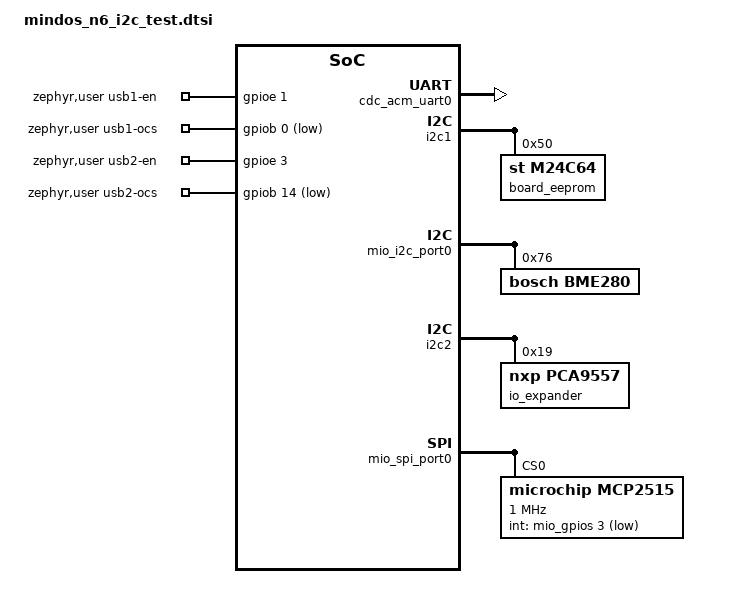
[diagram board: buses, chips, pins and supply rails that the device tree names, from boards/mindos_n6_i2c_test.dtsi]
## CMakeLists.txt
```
# SPDX-License-Identifier: Apache-2.0

cmake_minimum_required(VERSION 3.20.0)

# Out-of-tree PCA9557 GPIO expander driver (see pca9557_driver/README
# for why this needed its own driver instead of Zephyr's in-tree
# "nxp,pca95xx").
# mind_io: the I/O card abstraction (card EEPROM, port slots, named lines).
set(ZEPHYR_EXTRA_MODULES
  ${CMAKE_CURRENT_SOURCE_DIR}/pca9557_driver
  ${CMAKE_CURRENT_SOURCE_DIR}/../mind_io
)

find_package(Zephyr REQUIRED HINTS $ENV{ZEPHYR_BASE})
project(i2c_test)

# The default mindos_n6 variant executes in place from external flash and
# is only bootable when chainloaded by MCUboot, which sysbuild provides.
if(CONFIG_XIP AND NOT CONFIG_BOOTLOADER_MCUBOOT)
	message(FATAL_ERROR
		"This board variant runs from external flash (XIP) and must be "
		"built with --sysbuild so MCUboot is included, or use the /sb variant "
		"for a RAM-loaded image. See README.rst.")
endif()

# Pulls in Zephyr's shared USB device stack bring-up helper
# (sample_usbd_init_device() etc.), used by usb_device_test.c. See
# samples/subsys/usb/common/ - it's normally sample-only, but reusing
# it here is far less error-prone than re-deriving USB descriptor
# setup from scratch for a bring-up test.
include(${ZEPHYR_BASE}/samples/subsys/usb/common/common.cmake)

target_sources(app PRIVATE
	src/main.c
	src/mind_shell.c
	src/i2c_scan.c
	src/pca9557_test.c
	src/bme280_test.c
	src/can_test.c
	src/i2s_test.c
	src/usb_power_test.c
	src/usb_device_test.c
	src/lan_test.c
	src/axisram_test.c
	src/eeprom_test.c
)

# CONFIG_CODE_DATA_RELOCATION to AXISRAM3 was tried here and reverted:
# it hangs at boot on this board. See the README section "AXISRAM3
# extra SRAM" for why - short version: relocating an *initialized*
# section (e.g. i2s_test.c's const sine table, or any .data) needs an
# early boot-time copy into AXISRAM3, and that copy (arch_data_copy(),
# called before any Kconfig SYS_INIT level) runs before the
# stm32n6_axisram driver enables AXISRAM3's clock at PRE_KERNEL_2 -
# writing to a not-yet-clocked SRAM bank hangs the bus before anything
# can even print. axisram_test.c's own buffer works fine specifically
# because it's uninitialized (no early copy needed) and is only
# touched at runtime from the shell command, well after PRE_KERNEL_2.
```

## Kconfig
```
# SPDX-License-Identifier: Apache-2.0

# Becomes this app's Kconfig root (an app's own ./Kconfig, if present,
# is used instead of $ZEPHYR_BASE/Kconfig - see cmake/modules/kconfig.cmake).
# Needed only to pull in the shared USB sample options
# (SAMPLE_USBD_PID etc., used by usb_device_test.c via
# samples/subsys/usb/common/) that aren't otherwise reachable from an
# out-of-tree app; still sources the normal Kconfig.zephyr tree below
# so nothing else is affected.

source "samples/subsys/usb/common/Kconfig.sample_usbd"

source "Kconfig.zephyr"
```

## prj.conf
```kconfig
CONFIG_I2C=y
CONFIG_PRINTK=y
CONFIG_SENSOR=y
CONFIG_CAN=y
CONFIG_GPIO=y
CONFIG_I2S=y

# M24C64 board-configuration EEPROM on io_cnf_i2c (see eeprom_test.c)
CONFIG_EEPROM=y

# USB1 as a CDC-ACM device (see usb_device_test.c). Zephyr has no
# host-mode driver for this SoC's OTG HS peripheral, so device mode
# is the only way to exercise the USB wiring at all.
CONFIG_USB_DEVICE_STACK_NEXT=y
CONFIG_UART_LINE_CTRL=y
CONFIG_CDC_ACM_SERIAL_INITIALIZE_AT_BOOT=n
CONFIG_SAMPLE_USBD_PID=0x0001
CONFIG_SAMPLE_USBD_PRODUCT="mindos_n6 USB test"

# On-board Ethernet MAC (RMII) + DHCPv4 client (see lan_test.c).
CONFIG_NETWORKING=y
CONFIG_NET_IPV6=n
CONFIG_NET_IPV4=y
CONFIG_NET_ARP=y
CONFIG_NET_UDP=y
CONFIG_NET_DHCPV4=y
CONFIG_NET_MGMT=y
CONFIG_NET_MGMT_EVENT=y

# Interactive follow-up: drop to a shell after the boot-time scan
# and run e.g. `i2c scan i2c@50005400` / `i2c scan i2c@50005800` by hand
# (no devicetree "label" is set on these nodes, so the shell device name
# is the node's full name). "can" shell commands work against mcp2515
# too, e.g. `can show can@0`. "net iface"/"net dhcpv4" for LAN status.
CONFIG_SHELL=y
# The "mind" tests run in the shell thread
CONFIG_SHELL_STACK_SIZE=4096
CONFIG_I2C_SHELL=y
CONFIG_CAN_SHELL=y
CONFIG_NET_SHELL=y
CONFIG_EEPROM_SHELL=y
```

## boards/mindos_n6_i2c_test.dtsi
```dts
/*
 * BME280 environmental sensor (temperature/pressure/humidity) wired
 * to the io_i2c (i2c2) header. Found at address 0x76 (SDO -> GND)
 * during the bus scan.
 *
 * PCA9557PW,118 8-bit I2C GPIO expander wired to io_i2c, found at
 * address 0x19 (address pins: A0=VCC, A1=GND, A2=GND). Uses the
 * out-of-tree "nxp,pca9557" driver in ../pca9557_driver - see that
 * directory's README for why Zephyr's in-tree "nxp,pca95xx" driver
 * does not work with this part.
 *
 * MCP2515 SPI CAN controller wired to the io_spi (spi2) header.
 * Chip select uses the hardware NSS pin (PA11) already wired up in
 * spi2's pinctrl; INT is on PB3.
 *
 * MAX98357A I2S amp/DAC wired to the io_i2s (i2s1) header. i2s1 is
 * already enabled by the board, but its DMA channels come from
 * gpdma1, which the SoC devicetree leaves "disabled" by default and
 * no board file turns on - without this, the I2S driver fails to
 * build (DEVICE_DT_GET() on a DMA channel device that doesn't exist).
 *
 * Two MIC2026-1YM USB port power switches (one per USB port). Each
 * has an EN input (PE1/PE3, active-high, drive high to turn on the
 * 5V switch) and an OCS/FLAG# output (PB5/PB14, active-low, asserted
 * on overcurrent/thermal fault - the closest available signal to
 * "is 5V actually present and healthy"). Exposed via the standard
 * zephyr,user node rather than a custom binding, since these are
 * just plain GPIOs with no protocol/chip driver involved.
 *
 * USB1 (usbotg_hs1 / zephyr_udc0) is also exercised as a USB CDC-ACM
 * serial device (see usb_device_test.c) - it shares the same physical
 * connector as the MIC2026-switched 5V above. usb_power_test.c always
 * drives that port's EN high, so when plugging this port into a PC,
 * physically isolate/unpower the MIC2026 first to avoid two 5V
 * sources fighting on the same VBUS pin.
 *
 * SPDX-License-Identifier: Apache-2.0
 */

#include <freq.h>
#include <zephyr/dt-bindings/gpio/gpio.h>

&gpdma1 {
	status = "okay";
};

/*
 * AXISRAM3: extra 448KB SRAM bank beyond the primary axisram1/2
 * region already used as zephyr,sram - see axisram_test.c for what
 * this demonstrates and why zephyr,sram itself can't just be
 * switched to axisram1 for "more RAM" (short version: on this
 * secure/serial-boot ("/sb") target the Boot ROM RAM-loads the whole
 * image into a fixed 511KB window at the top of the axisram1/2
 * range - that's what "axisram2" actually denotes here - and
 * anywhere else in that range is invalid during SB/FSBL boot).
 *
 * 448KB comes from the gap between axisram3/4/5/6's addresses in
 * dts/arm/st/n6/stm32n6.dtsi (0x34200000, 0x34270000, 0x342e0000,
 * 0x34350000 - each 0x70000 apart), cross-checked against an ST
 * engineer's figure of "3.75MB total across AXISRAM1-6" on the ST
 * community forum (3.75MB - 2MB for axisram1/2 = 1.75MB over 4
 * banks = 448KB each). Neither the upstream SoC dtsi nor either
 * official ST reference board (stm32n6570_dk, nucleo_n657x0_q) sets
 * reg on axisram3-6, so there's no in-tree example to copy from.
 *
 * status = "okay" is set explicitly (not relying on the default) -
 * CONFIG_STM32N6_AXISRAM's `default y if $(dt_nodelabel_enabled,...)`
 * did not turn on with axisram3 merely lacking an explicit
 * "disabled" status; it needs a literal "okay".
 */
&axisram3 {
	reg = <0x34200000 DT_SIZE_K(448)>;
	status = "okay";
};

/ {
	zephyr,user {
		usb1-en-gpios = <&gpioe 1 GPIO_ACTIVE_HIGH>;
		usb1-ocs-gpios = <&gpiob 0 GPIO_ACTIVE_LOW>;
		usb2-en-gpios = <&gpioe 3 GPIO_ACTIVE_HIGH>;
		usb2-ocs-gpios = <&gpiob 14 GPIO_ACTIVE_LOW>;
	};
};

&zephyr_udc0 {
	cdc_acm_uart0 {
		compatible = "zephyr,cdc-acm-uart";
		label = "Zephyr USB CDC-ACM";
	};
};

/* M24C64-R: 64 Kbit (8 KiB) I2C EEPROM holding the board configuration
 * settings. E0-E2 are tied low, giving address 0x50 (it is the device
 * seen at 0x50 in the io_cnf_i2c scan). 32-byte pages, 16-bit word
 * address, 5 ms maximum write cycle time (datasheet tW).
 */
&i2c1 {
	board_eeprom: eeprom@50 {
		compatible = "st,m24c64", "atmel,at24";
		reg = <0x50>;
		size = <DT_SIZE_K(8)>;
		pagesize = <32>;
		address-width = <16>;
		timeout = <5>;
	};
};

/* Customer devices go under the I/O card's port slots (mind_io): the card
 * EEPROM says which host bus and chip-select each slot uses.
 */
&mio_i2c_port0 {
	bme280: bme280@76 {
		compatible = "bosch,bme280";
		reg = <0x76>;
	};
};

/* The PCA9557 is mounted on the I/O card itself, on the IO_I2C host bus */
&i2c2 {
	io_expander: pca9557@19 {
		compatible = "nxp,pca9557";
		reg = <0x19>;
		gpio-controller;
		#gpio-cells = <2>;
		ngpios = <8>;
	};
};

&mio_spi_port0 {
	mcp2515: can@0 {
		compatible = "microchip,mcp2515";
		reg = <0x0>;
		spi-max-frequency = <DT_FREQ_M(1)>;
		osc-freq = <DT_FREQ_M(8)>;
		int-gpios = <&mio_gpios 3 GPIO_ACTIVE_LOW>; /* connector IO_GPIO3 */
		bitrate = <500000>;
		status = "okay";

		can-transceiver {
			max-bitrate = <1000000>;
		};
	};
};
```

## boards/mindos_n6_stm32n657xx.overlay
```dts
/*
 * BME280 environmental sensor (temperature/pressure/humidity) wired
 * to the io_i2c (i2c2) header. Found at address 0x76 (SDO -> GND)
 * during the bus scan.
 *
 * PCA9557PW,118 8-bit I2C GPIO expander wired to io_i2c, found at
 * address 0x19 (address pins: A0=VCC, A1=GND, A2=GND). Uses the
 * out-of-tree "nxp,pca9557" driver in ../pca9557_driver - see that
 * directory's README for why Zephyr's in-tree "nxp,pca95xx" driver
 * does not work with this part.
 *
 * MCP2515 SPI CAN controller wired to the io_spi (spi2) header.
 * Chip select uses the hardware NSS pin (PA11) already wired up in
 * spi2's pinctrl; INT is on PB3.
 *
 * MAX98357A I2S amp/DAC wired to the io_i2s (i2s1) header. i2s1 is
 * already enabled by the board, but its DMA channels come from
 * gpdma1, which the SoC devicetree leaves "disabled" by default and
 * no board file turns on - without this, the I2S driver fails to
 * build (DEVICE_DT_GET() on a DMA channel device that doesn't exist).
 *
 * Two MIC2026-1YM USB port power switches (one per USB port). Each
 * has an EN input (PE1/PE3, active-high, drive high to turn on the
 * 5V switch) and an OCS/FLAG# output (PB5/PB14, active-low, asserted
 * on overcurrent/thermal fault - the closest available signal to
 * "is 5V actually present and healthy"). Exposed via the standard
 * zephyr,user node rather than a custom binding, since these are
 * just plain GPIOs with no protocol/chip driver involved.
 *
 * USB1 (usbotg_hs1 / zephyr_udc0) is also exercised as a USB CDC-ACM
 * serial device (see usb_device_test.c) - it shares the same physical
 * connector as the MIC2026-switched 5V above. usb_power_test.c always
 * drives that port's EN high, so when plugging this port into a PC,
 * physically isolate/unpower the MIC2026 first to avoid two 5V
 * sources fighting on the same VBUS pin.
 *
 * SPDX-License-Identifier: Apache-2.0
 */

#include <freq.h>
#include <zephyr/dt-bindings/gpio/gpio.h>

&gpdma1 {
	status = "okay";
};

/*
 * AXISRAM3: extra 448KB SRAM bank beyond the primary axisram1/2
 * region already used as zephyr,sram - see axisram_test.c for what
 * this demonstrates and why zephyr,sram itself can't just be
 * switched to axisram1 for "more RAM" (short version: on this
 * secure/serial-boot ("/sb") target the Boot ROM RAM-loads the whole
 * image into a fixed 511KB window at the top of the axisram1/2
 * range - that's what "axisram2" actually denotes here - and
 * anywhere else in that range is invalid during SB/FSBL boot).
 *
 * 448KB comes from the gap between axisram3/4/5/6's addresses in
 * dts/arm/st/n6/stm32n6.dtsi (0x34200000, 0x34270000, 0x342e0000,
 * 0x34350000 - each 0x70000 apart), cross-checked against an ST
 * engineer's figure of "3.75MB total across AXISRAM1-6" on the ST
 * community forum (3.75MB - 2MB for axisram1/2 = 1.75MB over 4
 * banks = 448KB each). Neither the upstream SoC dtsi nor either
 * official ST reference board (stm32n6570_dk, nucleo_n657x0_q) sets
 * reg on axisram3-6, so there's no in-tree example to copy from.
 *
 * status = "okay" is set explicitly (not relying on the default) -
 * CONFIG_STM32N6_AXISRAM's `default y if $(dt_nodelabel_enabled,...)`
 * did not turn on with axisram3 merely lacking an explicit
 * "disabled" status; it needs a literal "okay".
 */
&axisram3 {
	reg = <0x34200000 DT_SIZE_K(448)>;
	status = "okay";
};

/ {
	zephyr,user {
		usb1-en-gpios = <&gpioe 1 GPIO_ACTIVE_HIGH>;
		usb1-ocs-gpios = <&gpiob 0 GPIO_ACTIVE_LOW>;
		usb2-en-gpios = <&gpioe 3 GPIO_ACTIVE_HIGH>;
		usb2-ocs-gpios = <&gpiob 14 GPIO_ACTIVE_LOW>;
	};
};

&zephyr_udc0 {
	cdc_acm_uart0 {
		compatible = "zephyr,cdc-acm-uart";
		label = "Zephyr USB CDC-ACM";
	};
};

/* M24C64-R: 64 Kbit (8 KiB) I2C EEPROM holding the board configuration
 * settings. E0-E2 are tied low, giving address 0x50 (it is the device
 * seen at 0x50 in the io_cnf_i2c scan). 32-byte pages, 16-bit word
 * address, 5 ms maximum write cycle time (datasheet tW).
 */
&i2c1 {
	board_eeprom: eeprom@50 {
		compatible = "st,m24c64", "atmel,at24";
		reg = <0x50>;
		size = <DT_SIZE_K(8)>;
		pagesize = <32>;
		address-width = <16>;
		timeout = <5>;
	};
};

&i2c2 {
	bme280: bme280@76 {
		compatible = "bosch,bme280";
		reg = <0x76>;
	};

	io_expander: pca9557@19 {
		compatible = "nxp,pca9557";
		reg = <0x19>;
		gpio-controller;
		#gpio-cells = <2>;
		ngpios = <8>;
	};
};

&spi2 {
	mcp2515: can@0 {
		compatible = "microchip,mcp2515";
		reg = <0x0>;
		spi-max-frequency = <DT_FREQ_M(1)>;
		osc-freq = <DT_FREQ_M(8)>;
		int-gpios = <&gpiob 3 GPIO_ACTIVE_LOW>;
		bitrate = <500000>;
		status = "okay";

		can-transceiver {
			max-bitrate = <1000000>;
		};
	};
};
```

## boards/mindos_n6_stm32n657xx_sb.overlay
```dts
/*
 * i2c_test devices for this mindos_n6 variant; the content is shared by all
 * variants, see mindos_n6_i2c_test.dtsi.
 *
 * SPDX-License-Identifier: Apache-2.0
 */

#include "mindos_n6_i2c_test.dtsi"
```

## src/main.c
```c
/*
 * Peripheral bring-up test for the mind,mindos_n6 board. The tests run
 * from the shell ("mind test_all", or "mind <part>" for a single one;
 * see mind_shell.c). main() only starts the services that should be
 * available from boot: 5V on USB2 and the DHCPv4 client.
 *
 * SPDX-License-Identifier: Apache-2.0
 */

#include <zephyr/kernel.h>

#include "lan_test.h"
#include "usb_power_test.h"

#include <mind_io/mind_io.h>

int main(void)
{
	const struct mio_card *card = mio_card_get();
	const char *reason;

	printk("mindos_n6 peripheral test\n");

	if (card != NULL) {
		printk("I/O card: %s (serial %s)\n", card->identity.name, card->identity.serial);
	} else {
		enum mio_card_status st = mio_card_status(&reason);

		printk("I/O card: %s - %s\n", mio_card_status_name(st), reason);
	}

	usb_power_init();
	lan_start();

	printk("Type 'mind test_all' to test every part, or 'mind' to list single tests.\n");

	return 0;
}
```

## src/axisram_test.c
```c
/*
 * AXISRAM3: a 448KB SRAM bank separate from the primary axisram1/2
 * region already used as zephyr,sram. See the &axisram3 overlay
 * comment (in the boards/ overlay files) for why zephyr,sram itself
 * can't just be switched to axisram1 to get "more RAM" - short: on
 * this secure/serial-boot ("/sb") target, the Boot ROM RAM-loads the
 * whole image into a fixed 511KB window at the top of the
 * axisram1/2 range (what "axisram2" actually denotes here), and
 * anywhere else in that range is invalid during SB/FSBL boot.
 * AXISRAM3-6 are a separate, additional bank entirely, unaffected
 * by that restriction.
 *
 * Placing data there needs two things beyond the overlay's `reg`:
 *   - CONFIG_STM32N6_AXISRAM (see soc/st/stm32/stm32n6x/axisram/) -
 *     a dedicated driver that turns on the bank's RCC clock gate and
 *     calls HAL_RAMCFG_EnableAXISRAM() at PRE_KERNEL_2, before this
 *     buffer is ever touched. It auto-selects once the &axisram3
 *     overlay sets status = "okay", no prj.conf line needed.
 *   - placing the buffer via the standard zephyr,memory-region
 *     mechanism (Z_GENERIC_SECTION + the node's generated linker
 *     region name), not just declaring a normal static variable.
 *
 * This does a write/read-back sanity check to confirm the bank is
 * actually clocked, enabled, and addressable - not just linked.
 *
 * SPDX-License-Identifier: Apache-2.0
 */

#include "axisram_test.h"

#include <zephyr/kernel.h>
#include <zephyr/linker/devicetree_regions.h>

#define AXISRAM3_NODE DT_NODELABEL(axisram3)

static uint8_t axisram3_buf[256] Z_GENERIC_SECTION(LINKER_DT_NODE_REGION_NAME_TOKEN(AXISRAM3_NODE));

int axisram_test_run(const struct shell *sh)
{
	shell_print(sh, "AXISRAM3: %u KB @ 0x%08lx (test buffer @ %p)",
		    (unsigned int)(DT_REG_SIZE(AXISRAM3_NODE) / 1024),
		    (unsigned long)DT_REG_ADDR(AXISRAM3_NODE), (void *)axisram3_buf);

	for (size_t i = 0; i < sizeof(axisram3_buf); i++) {
		axisram3_buf[i] = (uint8_t)i;
	}

	for (size_t i = 0; i < sizeof(axisram3_buf); i++) {
		if (axisram3_buf[i] != (uint8_t)i) {
			shell_error(sh, "AXISRAM3: mismatch at offset %u (wrote 0x%02x, read 0x%02x)",
				    (unsigned int)i, (unsigned int)(uint8_t)i,
				    (unsigned int)axisram3_buf[i]);
			return -EIO;
		}
	}

	shell_print(sh, "AXISRAM3: %u bytes written and read back",
		    (unsigned int)sizeof(axisram3_buf));
	return 0;
}
```

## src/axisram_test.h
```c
/* SPDX-License-Identifier: Apache-2.0 */

#ifndef AXISRAM_TEST_H_
#define AXISRAM_TEST_H_

#include <zephyr/shell/shell.h>

/* Writes and reads back a test pattern in a buffer placed in AXISRAM3. */
int axisram_test_run(const struct shell *sh);

#endif /* AXISRAM_TEST_H_ */
```

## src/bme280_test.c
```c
/*
 * BME280 environmental sensor on io_i2c @ 0x76 (SDO -> GND). Uses the
 * standard "bosch,bme280" devicetree binding and Zephyr's sensor API.
 * One sample is taken and checked against the sensor's specified
 * operating range, which catches a stuck or unconfigured sensor
 * returning zeros or garbage.
 *
 * SPDX-License-Identifier: Apache-2.0
 */

#include "bme280_test.h"

#include <zephyr/kernel.h>
#include <zephyr/device.h>
#include <zephyr/drivers/sensor.h>

static const struct device *const bme280 = DEVICE_DT_GET(DT_NODELABEL(bme280));

int bme280_test_run(const struct shell *sh)
{
	struct sensor_value temp, press, humidity;
	int ret;

	if (!device_is_ready(bme280)) {
		shell_error(sh, "BME280: device not ready");
		return -ENODEV;
	}

	ret = sensor_sample_fetch(bme280);
	if (ret < 0) {
		shell_error(sh, "BME280: sample fetch failed (%d)", ret);
		return ret;
	}

	(void)sensor_channel_get(bme280, SENSOR_CHAN_AMBIENT_TEMP, &temp);
	(void)sensor_channel_get(bme280, SENSOR_CHAN_PRESS, &press);
	(void)sensor_channel_get(bme280, SENSOR_CHAN_HUMIDITY, &humidity);

	shell_print(sh, "BME280: temp=%d.%06d C, press=%d.%06d kPa, humidity=%d.%06d %%RH",
		    temp.val1, temp.val2, press.val1, press.val2, humidity.val1, humidity.val2);

	/* Operating range from the datasheet: -40..85 C, 30..110 kPa, 0..100 %RH */
	if ((temp.val1 < -40) || (temp.val1 > 85) ||
	    (press.val1 < 30) || (press.val1 > 110) ||
	    (humidity.val1 < 0) || (humidity.val1 > 100)) {
		shell_error(sh, "BME280: reading outside the sensor's operating range");
		return -ERANGE;
	}

	return 0;
}
```

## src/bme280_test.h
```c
/* SPDX-License-Identifier: Apache-2.0 */

#ifndef BME280_TEST_H_
#define BME280_TEST_H_

#include <zephyr/shell/shell.h>

/* Takes one BME280 (io_i2c @ 0x76) sample, prints it and checks it is
 * within the sensor's operating range.
 */
int bme280_test_run(const struct shell *sh);

#endif /* BME280_TEST_H_ */
```

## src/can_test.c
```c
/*
 * MCP2515 SPI CAN controller on the I/O card's SPI port 0 (8MHz oscillator,
 * INT on connector IO_GPIO3, chip-select driven by the mind_io port slot).
 * Runs in internal loopback mode, so the controller, its SPI link and its
 * interrupt line are exercised without a second node on the bus: one frame
 * is sent and must be received back. Set CAN_TEST_LOOPBACK to 0 once a
 * second CAN node is connected to answer on CAN_TEST_ID.
 *
 * SPDX-License-Identifier: Apache-2.0
 */

#include "can_test.h"

#include <zephyr/kernel.h>
#include <zephyr/device.h>
#include <zephyr/drivers/can.h>

#define CAN_TEST_LOOPBACK   1
#define CAN_TEST_ID         0x123
#define CAN_TEST_TIMEOUT_MS 100

static const struct device *const can_dev = DEVICE_DT_GET(DT_NODELABEL(mcp2515));

CAN_MSGQ_DEFINE(can_rx_msgq, 4);

static bool can_started;

static int can_setup(const struct shell *sh)
{
	const struct can_filter filter = {
		.id = CAN_TEST_ID,
		.mask = CAN_STD_ID_MASK,
	};
	int ret;

	if (can_started) {
		return 0;
	}

	if (CAN_TEST_LOOPBACK) {
		ret = can_set_mode(can_dev, CAN_MODE_LOOPBACK);
		if (ret < 0) {
			shell_error(sh, "MCP2515: failed to set loopback mode (%d)", ret);
			return ret;
		}
	}

	ret = can_start(can_dev);
	if (ret < 0) {
		shell_error(sh, "MCP2515: failed to start (%d)", ret);
		return ret;
	}

	ret = can_add_rx_filter_msgq(can_dev, &can_rx_msgq, &filter);
	if (ret < 0) {
		shell_error(sh, "MCP2515: failed to add rx filter (%d)", ret);
		(void)can_stop(can_dev);
		return ret;
	}

	can_started = true;
	return 0;
}

int can_test_run(const struct shell *sh)
{
	static uint8_t counter;
	struct can_frame tx;
	struct can_frame rx;
	int ret;

	if (!device_is_ready(can_dev)) {
		shell_error(sh, "MCP2515: device not ready");
		return -ENODEV;
	}

	ret = can_setup(sh);
	if (ret < 0) {
		return ret;
	}

	k_msgq_purge(&can_rx_msgq);

	tx = (struct can_frame){
		.id = CAN_TEST_ID,
		.dlc = 1,
		.data = { counter++ },
	};

	ret = can_send(can_dev, &tx, K_MSEC(CAN_TEST_TIMEOUT_MS), NULL, NULL);
	if (ret < 0) {
		shell_error(sh, "MCP2515: send failed (%d)", ret);
		return ret;
	}

	ret = k_msgq_get(&can_rx_msgq, &rx, K_MSEC(CAN_TEST_TIMEOUT_MS));
	if (ret < 0) {
		shell_error(sh, "MCP2515: no frame received within %d ms", CAN_TEST_TIMEOUT_MS);
		return -ETIMEDOUT;
	}

	if ((rx.id != tx.id) || (rx.dlc != tx.dlc) || (rx.data[0] != tx.data[0])) {
		shell_error(sh, "MCP2515: sent id=0x%x data[0]=0x%02x, received id=0x%x "
			    "dlc=%u data[0]=0x%02x", tx.id, tx.data[0], rx.id, rx.dlc, rx.data[0]);
		return -EIO;
	}

	shell_print(sh, "MCP2515 @ 500 kbit/s (%s): sent and received id=0x%x data[0]=0x%02x",
		    CAN_TEST_LOOPBACK ? "loopback" : "normal", rx.id, rx.data[0]);
	return 0;
}
```

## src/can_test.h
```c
/* SPDX-License-Identifier: Apache-2.0 */

#ifndef CAN_TEST_H_
#define CAN_TEST_H_

#include <zephyr/shell/shell.h>

/* Starts the MCP2515 CAN controller (card SPI port 0) on first use, sends one
 * frame in loopback mode and checks it is received back.
 */
int can_test_run(const struct shell *sh);

#endif /* CAN_TEST_H_ */
```

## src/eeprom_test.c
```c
/*
 * M24C64-R board-configuration EEPROM on io_cnf_i2c, driven by Zephyr's
 * in-tree "atmel,at24" EEPROM driver (ST's M24xxx family uses the same
 * programming model).
 *
 * The EEPROM holds real board settings, so the test never leaves
 * anything changed: the start of the memory is only read and dumped,
 * and the write test uses the last page, which is saved first and
 * written back afterwards. Only a power loss during the few
 * milliseconds of the test could leave that page modified.
 *
 * SPDX-License-Identifier: Apache-2.0
 */

#include "eeprom_test.h"

#include <string.h>
#include <zephyr/kernel.h>
#include <zephyr/device.h>
#include <zephyr/drivers/eeprom.h>
#include <zephyr/shell/shell.h>

#define EEPROM_NODE DT_NODELABEL(board_eeprom)
#define PAGE_SIZE   DT_PROP(EEPROM_NODE, pagesize)
#define DUMP_LEN    64U

static const struct device *const eeprom = DEVICE_DT_GET(EEPROM_NODE);

static void dump(const struct shell *sh, off_t offset, const uint8_t *buf, size_t len)
{
	for (size_t i = 0; i < len; i += 16U) {
		shell_hexdump_line(sh, (unsigned int)(offset + i), &buf[i], MIN(len - i, 16U));
	}
}

static int write_verify(const struct shell *sh, off_t offset, const uint8_t *data,
			size_t len, const char *what)
{
	uint8_t readback[PAGE_SIZE];
	int err;

	err = eeprom_write(eeprom, offset, data, len);
	if (err != 0) {
		shell_error(sh, "EEPROM: %s write failed (%d)%s", what, err,
			    (err == -EIO) ? " - is the WC (write control) pin held high?" : "");
		return err;
	}

	err = eeprom_read(eeprom, offset, readback, len);
	if (err != 0) {
		shell_error(sh, "EEPROM: %s read-back failed (%d)", what, err);
		return err;
	}

	if (memcmp(data, readback, len) != 0) {
		shell_error(sh, "EEPROM: %s read-back mismatch", what);
		dump(sh, offset, readback, len);
		return -EIO;
	}

	return 0;
}

int eeprom_test_run(const struct shell *sh)
{
	uint8_t head[DUMP_LEN];
	uint8_t saved[PAGE_SIZE];
	uint8_t pattern[PAGE_SIZE];
	size_t size;
	off_t last_page;
	int test_err;
	int restore_err;
	int err;

	if (!device_is_ready(eeprom)) {
		shell_error(sh, "EEPROM: M24C64 @ 0x%02x not ready", DT_REG_ADDR(EEPROM_NODE));
		return -ENODEV;
	}

	size = eeprom_get_size(eeprom);
	last_page = (off_t)(size - PAGE_SIZE);
	shell_print(sh, "EEPROM: M24C64 @ 0x%02x, %u bytes, %u-byte pages",
		    DT_REG_ADDR(EEPROM_NODE), (unsigned int)size, (unsigned int)PAGE_SIZE);

	err = eeprom_read(eeprom, 0, head, sizeof(head));
	if (err != 0) {
		shell_error(sh, "EEPROM: read failed (%d)", err);
		return err;
	}
	shell_print(sh, "EEPROM: first %u bytes (board configuration area):", DUMP_LEN);
	dump(sh, 0, head, sizeof(head));

	err = eeprom_read(eeprom, last_page, saved, sizeof(saved));
	if (err != 0) {
		shell_error(sh, "EEPROM: read of last page failed (%d)", err);
		return err;
	}

	/* Complement of the saved bytes, so every bit is flipped by the test */
	for (size_t i = 0; i < sizeof(pattern); i++) {
		pattern[i] = (uint8_t)~saved[i];
	}

	test_err = write_verify(sh, last_page, pattern, sizeof(pattern), "test pattern");

	/* Always restore, even if the pattern check failed half-way */
	restore_err = write_verify(sh, last_page, saved, sizeof(saved), "restore");
	if (restore_err != 0) {
		shell_error(sh, "EEPROM: WARNING: last page @ 0x%04lx may not hold its original "
			    "contents; they were:", (unsigned long)last_page);
		dump(sh, last_page, saved, sizeof(saved));
		return restore_err;
	}

	if (test_err != 0) {
		return test_err;
	}

	shell_print(sh, "EEPROM: write/read-back on last page @ 0x%04lx OK "
		    "(original contents restored)", (unsigned long)last_page);
	return 0;
}
```

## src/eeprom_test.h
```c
/* SPDX-License-Identifier: Apache-2.0 */

#ifndef EEPROM_TEST_H_
#define EEPROM_TEST_H_

#include <zephyr/shell/shell.h>

/* Checks the M24C64 board-configuration EEPROM (io_cnf_i2c @ 0x50):
 * dumps the start of its contents, then runs a write/read-back test on
 * the last page and restores that page's original contents afterwards.
 */
int eeprom_test_run(const struct shell *sh);

#endif /* EEPROM_TEST_H_ */
```

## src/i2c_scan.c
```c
/*
 * Scans both on-board I2C buses, prints a scan table (same format as
 * the "i2c scan" shell command) and checks that every device described
 * in the overlays answers at its devicetree address.
 *
 * SPDX-License-Identifier: Apache-2.0
 */

#include "i2c_scan.h"

#include <zephyr/kernel.h>
#include <zephyr/device.h>
#include <zephyr/drivers/i2c.h>

/* 7-bit address range scanned by the I2C shell's "i2c scan" command */
#define I2C_SCAN_ADDR_FIRST 0x04
#define I2C_SCAN_ADDR_LAST  0x77

struct i2c_expected {
	uint16_t addr;
	const char *name;
};

struct i2c_bus {
	const struct device *dev;
	const char *name;
	const struct i2c_expected *expected;
	size_t n_expected;
};

#define EXPECTED(_label, _name) { .addr = DT_REG_ADDR(DT_NODELABEL(_label)), .name = _name }

static const struct i2c_expected cnf_expected[] = {
	EXPECTED(board_eeprom, "M24C64 EEPROM"),
};

static const struct i2c_expected io_expected[] = {
	EXPECTED(io_expander, "PCA9557"),
	EXPECTED(bme280, "BME280"),
};

static const struct i2c_bus buses[] = {
	{ DEVICE_DT_GET(DT_NODELABEL(i2c1)), "i2c1 (io_cnf_i2c)", cnf_expected,
	  ARRAY_SIZE(cnf_expected) },
	{ DEVICE_DT_GET(DT_NODELABEL(i2c2)), "i2c2 (io_i2c)", io_expected,
	  ARRAY_SIZE(io_expected) },
};

static bool probe(const struct device *dev, uint16_t addr)
{
	struct i2c_msg msg;
	uint8_t dummy;

	msg.buf = &dummy;
	msg.len = 0U;
	msg.flags = I2C_MSG_WRITE | I2C_MSG_STOP;

	return i2c_transfer(dev, &msg, 1, addr) == 0;
}

static int i2c_bus_scan(const struct shell *sh, const struct i2c_bus *bus)
{
	bool acked[I2C_SCAN_ADDR_LAST + 1] = { false };
	unsigned int found = 0;
	int ret = 0;

	if (!device_is_ready(bus->dev)) {
		shell_error(sh, "%s: device not ready", bus->name);
		return -ENODEV;
	}

	shell_print(sh, "%s:", bus->name);
	shell_print(sh, "     0  1  2  3  4  5  6  7  8  9  a  b  c  d  e  f");

	for (uint16_t row = 0; row <= I2C_SCAN_ADDR_LAST; row += 16U) {
		shell_fprintf(sh, SHELL_NORMAL, "%02x: ", row);
		for (uint16_t col = 0; col < 16U; col++) {
			uint16_t addr = row + col;

			if ((addr < I2C_SCAN_ADDR_FIRST) || (addr > I2C_SCAN_ADDR_LAST)) {
				shell_fprintf(sh, SHELL_NORMAL, "   ");
				continue;
			}

			acked[addr] = probe(bus->dev, addr);
			if (acked[addr]) {
				shell_fprintf(sh, SHELL_NORMAL, "%02x ", addr);
				found++;
			} else {
				shell_fprintf(sh, SHELL_NORMAL, "-- ");
			}
		}
		shell_fprintf(sh, SHELL_NORMAL, "\n");
	}

	shell_print(sh, "%s: %u device(s) found", bus->name, found);

	for (size_t i = 0; i < bus->n_expected; i++) {
		const struct i2c_expected *exp = &bus->expected[i];

		if (acked[exp->addr]) {
			shell_print(sh, "  0x%02x %s: present", exp->addr, exp->name);
		} else {
			shell_error(sh, "  0x%02x %s: MISSING", exp->addr, exp->name);
			ret = -ENODEV;
		}
	}

	return ret;
}

int i2c_scan_test_run(const struct shell *sh)
{
	int ret = 0;

	for (size_t i = 0; i < ARRAY_SIZE(buses); i++) {
		int err = i2c_bus_scan(sh, &buses[i]);

		if (err != 0) {
			ret = err;
		}
	}

	return ret;
}
```

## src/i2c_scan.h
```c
/* SPDX-License-Identifier: Apache-2.0 */

#ifndef I2C_SCAN_H_
#define I2C_SCAN_H_

#include <zephyr/shell/shell.h>

/* Scans both on-board I2C buses (io_cnf_i2c / io_i2c) for addresses
 * 0x04-0x77, prints a scan table and fails if a device described in the
 * overlays does not answer.
 */
int i2c_scan_test_run(const struct shell *sh);

#endif /* I2C_SCAN_H_ */
```

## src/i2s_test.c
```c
/*
 * MAX98357A I2S amp/DAC on io_i2s (i2s1). It has no control bus (no
 * I2C/SPI, no Zephyr devicetree binding of its own) - it just plays
 * whatever standard I2S stream it's fed, so the "device" here is
 * simply the i2s1 controller. Each test run plays a ~689Hz test tone
 * (identical on both channels) for I2S_TEST_DURATION_MS: audible
 * output is the actual pass criterion, the test itself can only check
 * that the stream ran without a driver error or DMA underrun.
 *
 * SPDX-License-Identifier: Apache-2.0
 */

#include "i2s_test.h"

#include <zephyr/kernel.h>
#include <zephyr/device.h>
#include <zephyr/drivers/i2s.h>
#include <zephyr/sys/iterable_sections.h>
#include <zephyr/sys/util.h>

#define I2S_SAMPLE_NO    64
#define I2S_FRAME_CLK_HZ 44100
#define I2S_NUM_BLOCKS   4
#define I2S_BLOCK_SIZE   (2 * sizeof(int16_t) * I2S_SAMPLE_NO) /* stereo, 16-bit */
#define I2S_TEST_DURATION_MS 2000
#define I2S_ALLOC_TIMEOUT_MS 100

/* One full cycle of a sine wave; tiling these blocks back-to-back
 * produces a continuous, glitch-free ~689Hz (44100/64) tone.
 */
static const int16_t i2s_sine[I2S_SAMPLE_NO] = {
	  3211,   6392,   9511,  12539,  15446,  18204,  20787,  23169,
	 25329,  27244,  28897,  30272,  31356,  32137,  32609,  32767,
	 32609,  32137,  31356,  30272,  28897,  27244,  25329,  23169,
	 20787,  18204,  15446,  12539,   9511,   6392,   3211,      0,
	 -3212,  -6393,  -9512, -12540, -15447, -18205, -20788, -23170,
	-25330, -27245, -28898, -30273, -31357, -32138, -32610, -32767,
	-32610, -32138, -31357, -30273, -28898, -27245, -25330, -23170,
	-20788, -18205, -15447, -12540,  -9512,  -6393,  -3212,     -1,
};

#ifdef CONFIG_NOCACHE_MEMORY
#define I2S_MEM_SLAB_CACHE_ATTR __nocache
#else
#define I2S_MEM_SLAB_CACHE_ATTR
#endif

static char I2S_MEM_SLAB_CACHE_ATTR __aligned(WB_UP(32))
	i2s_mem_slab_buf[I2S_NUM_BLOCKS * WB_UP(I2S_BLOCK_SIZE)];

static STRUCT_SECTION_ITERABLE(k_mem_slab, i2s_tx_mem_slab) =
	Z_MEM_SLAB_INITIALIZER(i2s_tx_mem_slab, i2s_mem_slab_buf,
				WB_UP(I2S_BLOCK_SIZE), I2S_NUM_BLOCKS);

static const struct device *i2s_dev = DEVICE_DT_GET(DT_NODELABEL(i2s1));

static void i2s_fill_block(int16_t *block)
{
	for (int i = 0; i < I2S_SAMPLE_NO; i++) {
		block[2 * i] = i2s_sine[i];     /* left */
		block[2 * i + 1] = i2s_sine[i]; /* right */
	}
}

K_SEM_DEFINE(i2s_start_sem, 0, 1);
K_SEM_DEFINE(i2s_done_sem, 0, 1);
static int i2s_result;

static int i2s_queue_block(void)
{
	void *block;
	int ret;

	ret = k_mem_slab_alloc(&i2s_tx_mem_slab, &block, K_MSEC(I2S_ALLOC_TIMEOUT_MS));
	if (ret < 0) {
		printk("I2S: block alloc failed (%d)\n", ret);
		return ret;
	}
	i2s_fill_block(block);

	ret = i2s_write(i2s_dev, block, I2S_BLOCK_SIZE);
	if (ret < 0) {
		printk("I2S: write failed (%d)\n", ret);
		k_mem_slab_free(&i2s_tx_mem_slab, block);
	}

	return ret;
}

static int i2s_play(uint32_t duration_ms)
{
	const uint32_t n_blocks = duration_ms * (I2S_FRAME_CLK_HZ / 1000U) / I2S_SAMPLE_NO;
	struct i2s_config cfg;
	int ret;

	cfg.word_size = 16U;
	cfg.channels = 2U;
	cfg.format = I2S_FMT_DATA_FORMAT_I2S;
	cfg.frame_clk_freq = I2S_FRAME_CLK_HZ;
	cfg.block_size = I2S_BLOCK_SIZE;
	cfg.timeout = 2000;
	/* STM32 is the I2S clock master; the MAX98357A is always a slave. */
	cfg.options = I2S_OPT_FRAME_CLK_CONTROLLER | I2S_OPT_BIT_CLK_CONTROLLER;
	cfg.mem_slab = &i2s_tx_mem_slab;

	ret = i2s_configure(i2s_dev, I2S_DIR_TX, &cfg);
	if (ret < 0) {
		printk("I2S: configure failed (%d)\n", ret);
		return ret;
	}

	/* Pre-fill the whole TX queue before starting playback. Each block
	 * is only ~1.45ms of audio (64 samples @ 44.1kHz); starting with
	 * just one block queued left no headroom for this thread to keep
	 * up once playing, and the DMA underran waiting for the next one.
	 * Filling all I2S_NUM_BLOCKS slots first gives several block-times
	 * of buffer headroom.
	 */
	for (unsigned int i = 0; i < I2S_NUM_BLOCKS; i++) {
		ret = i2s_queue_block();
		if (ret < 0) {
			(void)i2s_trigger(i2s_dev, I2S_DIR_TX, I2S_TRIGGER_DROP);
			return ret;
		}
	}

	ret = i2s_trigger(i2s_dev, I2S_DIR_TX, I2S_TRIGGER_START);
	if (ret < 0) {
		printk("I2S: trigger start failed (%d)\n", ret);
		(void)i2s_trigger(i2s_dev, I2S_DIR_TX, I2S_TRIGGER_DROP);
		return ret;
	}

	for (uint32_t i = I2S_NUM_BLOCKS; i < n_blocks; i++) {
		ret = i2s_queue_block();
		if (ret < 0) {
			printk("I2S: stream stopped after %u of %u blocks\n", i, n_blocks);
			(void)i2s_trigger(i2s_dev, I2S_DIR_TX, I2S_TRIGGER_DROP);
			return ret;
		}
	}

	ret = i2s_trigger(i2s_dev, I2S_DIR_TX, I2S_TRIGGER_DRAIN);
	if (ret < 0) {
		printk("I2S: trigger drain failed (%d)\n", ret);
		(void)i2s_trigger(i2s_dev, I2S_DIR_TX, I2S_TRIGGER_DROP);
		return ret;
	}

	/* Let the queued blocks finish so the next run finds the stream idle */
	k_msleep(DIV_ROUND_UP((I2S_NUM_BLOCKS + 1U) * I2S_SAMPLE_NO * 1000U, I2S_FRAME_CLK_HZ));

	return 0;
}

static void i2s_playback_thread(void *p1, void *p2, void *p3)
{
	ARG_UNUSED(p1);
	ARG_UNUSED(p2);
	ARG_UNUSED(p3);

	for (;;) {
		k_sem_take(&i2s_start_sem, K_FOREVER);
		i2s_result = i2s_play(I2S_TEST_DURATION_MS);
		k_sem_give(&i2s_done_sem);
	}
}

/* Priority -1: keeping the TX queue fed is time-critical (~1.45ms per
 * block). Streaming from a lower-priority thread (such as the shell's)
 * lets other work eat into the buffer margin; that caused underruns
 * after a few hundred blocks during bring-up.
 */
K_THREAD_DEFINE(i2s_playback_tid, 1024, i2s_playback_thread, NULL, NULL, NULL, -1, 0, 0);

int i2s_test_run(const struct shell *sh)
{
	if (!device_is_ready(i2s_dev)) {
		shell_error(sh, "I2S: device not ready");
		return -ENODEV;
	}

	shell_print(sh, "I2S @ io_i2s: playing ~%u Hz test tone into the MAX98357A for %u ms",
		    I2S_FRAME_CLK_HZ / I2S_SAMPLE_NO, I2S_TEST_DURATION_MS);

	k_sem_reset(&i2s_done_sem);
	k_sem_give(&i2s_start_sem);

	if (k_sem_take(&i2s_done_sem, K_MSEC(I2S_TEST_DURATION_MS + 3000)) != 0) {
		shell_error(sh, "I2S: playback did not finish");
		return -ETIMEDOUT;
	}

	if (i2s_result != 0) {
		shell_error(sh, "I2S: playback failed (%d)", i2s_result);
		return i2s_result;
	}

	shell_print(sh, "I2S: stream completed without errors - check the tone was audible");
	return 0;
}
```

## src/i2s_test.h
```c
/* SPDX-License-Identifier: Apache-2.0 */

#ifndef I2S_TEST_H_
#define I2S_TEST_H_

#include <zephyr/shell/shell.h>

/* Plays a ~689 Hz test tone into the MAX98357A on io_i2s for 2 s and
 * fails on any driver error or underrun. Whether the tone was actually
 * audible has to be checked by ear.
 */
int i2s_test_run(const struct shell *sh);

#endif /* I2S_TEST_H_ */
```
